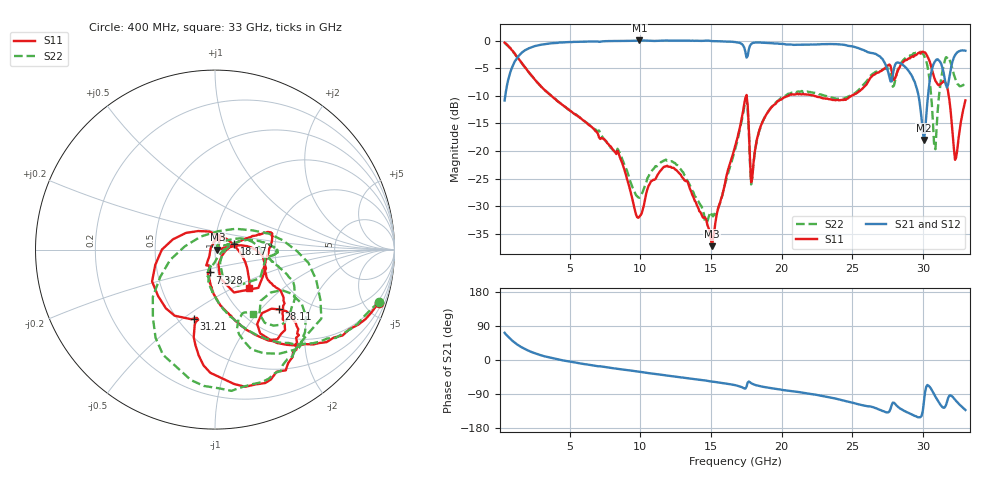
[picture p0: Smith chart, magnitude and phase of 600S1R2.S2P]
!  American Technical Ceramics  Date:  10/26/00
!  One Norden Lane
!  Huntington Station,  NY.  11746-2102
!  Tel:  (631) 622-4700  Fax:  (631) 622-4748
!  Part Number  600S1R2BW  Mounting Orientation: Horizontal
!  Description: Ultra Low ESR Microwave capacitors
!  Application: Coupling, Bypass, Tuning, DC Block
!  Filters, Matching
# GHZ S DB R 50
! Freq  |S11|  S11 Ph  |S21|  S21 Ph  |S12|  S12 Ph  |S22|  S22 Ph
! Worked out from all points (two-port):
!   401 points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, 400 MHz to 33 GHz, reference 50 ohm
!   highest |S21| = 0.03 dB at 9.936 GHz (marker M1); lowest = -18.0 dB at 30.07 GHz (marker M2)
!   |S21| within 3 dB of the highest: 1.332 GHz to 17.51 GHz (16.17 GHz wide, 172 % of centre); 17.55 GHz to 27 GHz (9.449 GHz wide, 42.4 % of centre)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
!   lowest |S11| = -37.2 dB at 15.07 GHz (marker M3), VSWR 1.03, Z = 51.4 - j0.0574 ohm
!   |S11| at or under -10 dB: 3.711 GHz to 17.49 GHz (13.78 GHz wide, 130 % of centre); 17.52 GHz to 20.46 GHz (2.94 GHz wide, 15.5 % of centre); 22.31 GHz to 24.94 GHz (2.628 GHz wide, 11.1 % of centre)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
!   |S22| runs from -33.0 to -0.4 dB; largest |S21 - S12| = 0.0091
!   S11 on the Smith chart (normalised r, x): 400 MHz: 0.85, -6.17; 7.328 GHz: 0.91, -0.24; 18.17 GHz: 1.24, +0.08; 28.11 GHz: 1.45, -1.27; 31.21 GHz: 0.60, -0.55; 33 GHz: 1.31, -0.61
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0.4  -0.37 -18.1  -10.83 71.8  -10.84 71.7  -0.36 -17.7
2.356  -6.46 -69.0  -1.13 20.3  -1.12 20.5  -6.53 -68.9
5.861  -14.22 -97.6  -0.21 -9.7  -0.21 -9.8  -14.20 -99.6
7.328  -17.70 -103.0  -0.13 -17.6  -0.14 -17.6  -17.47 -107.2
9.936  -31.87 148.1  0.03 -31.0  0.02 -31.1  -28.45 -32.2
11.321  -23.93 80.2  -0.01 -37.9  -0.02 -38.1  -22.40 17.4
15.07  -37.21 -2.3  -0.09 -57.0  -0.10 -57.1  -31.56 54.2
16.7  -19.27 10.3  -0.25 -66.4  -0.26 -66.2  -19.81 32.9
17.434  -10.38 -20.2  -2.03 -75.7  -2.00 -75.0  -10.87 -11.6
17.841  -25.65 -44.2  -0.63 -61.0  -0.63 -61.0  -26.04 -36.7
18.167  -19.05 15.7  -0.33 -66.3  -0.34 -66.3  -19.18 18.0
19.471  -11.60 19.4  -0.51 -75.6  -0.47 -75.7  -11.45 8.7
22.161  -9.91 8.2  -0.72 -90.1  -0.71 -90.0  -9.38 -3.7
27.621  -4.31 -55.2  -6.57 -135.7  -6.57 -135.7  -5.43 -52.3
28.11  -6.24 -43.0  -4.03 -119.5  -4.09 -119.7  -6.25 -30.0
29.251  -2.87 -50.9  -6.57 -144.4  -6.58 -144.8  -2.55 -59.6
30.066  -2.11 -73.3  -17.98 -110.6  -17.66 -110.7  -2.63 -100.5
30.8  -6.73 -104.5  -3.98 -91.1  -4.01 -91.3  -19.39 137.1
31.207  -7.91 -107.0  -3.81 -116.6  -3.81 -116.1  -8.38 7.8
31.778  -9.27 -165.5  -7.92 -100.2  -7.90 -100.9  -2.93 -51.3
32.267  -21.59 77.4  -2.64 -104.6  -2.66 -105.1  -6.79 -74.5
33  -10.81 -48.2  -1.83 -132.0  -1.81 -131.9  -7.63 -59.7
